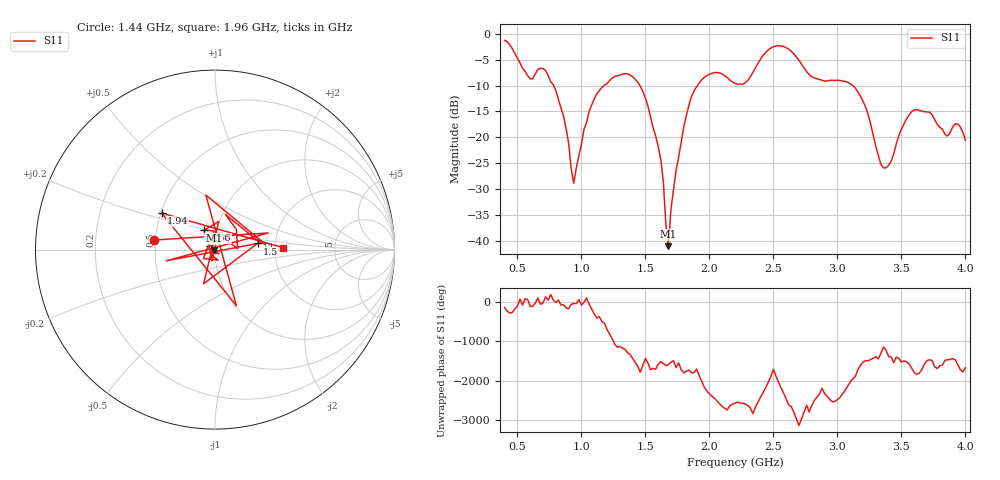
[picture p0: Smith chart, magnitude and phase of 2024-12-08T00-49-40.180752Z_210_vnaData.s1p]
!Created with skrf (http://scikit-rf.org).
# Hz S RI R 50.0
!freq ReS11 ImS11
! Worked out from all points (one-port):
!   181 points, 400 MHz to 4 GHz, reference 50 ohm
!   lowest |S11| = -41.1 dB at 1.68 GHz (marker M1), VSWR 1.02, Z = 49.3 - j0.493 ohm
!   |S11| at or under -10 dB: 783 MHz to 1.176 GHz (393.1 MHz wide, 40.1 % of centre); 1.457 GHz to 1.906 GHz (449.2 MHz wide, 26.7 % of centre); 3.12 GHz to end of sweep
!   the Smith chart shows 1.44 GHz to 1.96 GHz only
!   S11 on the Smith chart (normalised r, x): 1.44 GHz: 0.49, +0.06; 1.5 GHz: 1.62, +0.12; 1.56 GHz: 0.87, +0.19; 1.94 GHz: 0.50, +0.24; 1.96 GHz: 2.22, +0.05
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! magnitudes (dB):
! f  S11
! 400 MHz  -1.3
! 600 MHz  -8.7
! 720 MHz  -7.1
! 860 MHz  -15.8
! 940 MHz  -28.9
! 1.1 GHz  -12.6
! 1.3 GHz  -8.0
! 1.44 GHz  -9.3
! 1.5 GHz  -12.4
! 1.56 GHz  -18.1
! 1.62 GHz  -24.2
! 1.68 GHz  -41.1
! 1.7 GHz  -33.8
! 1.76 GHz  -23.8
! 1.84 GHz  -13.8
! 1.94 GHz  -8.9
! 1.96 GHz  -8.4
! 2.2 GHz  -9.6
! 2.5 GHz  -2.5
! 2.66 GHz  -3.9
! 2.8 GHz  -8.3
! 3.1 GHz  -9.6
! 3.22 GHz  -14.1
! 3.36 GHz  -25.9
! 3.56 GHz  -15.7
! 3.86 GHz  -19.7
! 3.94 GHz  -17.4
! 4 GHz  -20.5
